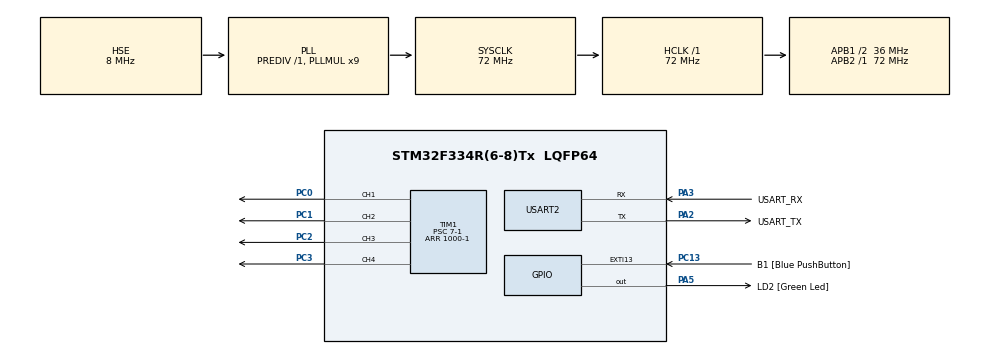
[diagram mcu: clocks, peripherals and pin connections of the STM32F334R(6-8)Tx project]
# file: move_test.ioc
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Mcu.Family=STM32F3
Mcu.Name=STM32F334R(6-8)Tx
Mcu.Package=LQFP64
NVIC.PriorityGroup=NVIC_PRIORITYGROUP_0
PA13.GPIO_Label=TMS
PA13.Mode=Serial_Wire
PA13.Signal=SYS_JTMS-SWDIO
PA14.GPIO_Label=TCK
PA14.Mode=Serial_Wire
PA14.Signal=SYS_JTCK-SWCLK
PA2.GPIO_Label=USART_TX
PA2.Mode=Asynchronous
PA2.Signal=USART2_TX
PA3.GPIO_Label=USART_RX
PA3.Mode=Asynchronous
PA3.Signal=USART2_RX
PA5.GPIO_Label=LD2 [Green Led]
PA5.Signal=GPIO_Output
PB3.GPIO_Label=SWO
PB3.Signal=SYS_JTDO-TRACESWO
PC0.Signal=S_TIM1_CH1
PC1.Signal=S_TIM1_CH2
PC13.GPIO_Label=B1 [Blue PushButton]
PC13.GPIO_ModeDefaultEXTI=GPIO_MODE_IT_FALLING
PC13.Signal=GPXTI13
PC14\ /\ OSC32_IN.Mode=LSE-External-Oscillator
PC14\ /\ OSC32_IN.Signal=RCC_OSC32_IN
PC15\ /\ OSC32_OUT.GPIO_Label=RCC_OSC32_OUT
PC15\ /\ OSC32_OUT.Mode=LSE-External-Oscillator
PC15\ /\ OSC32_OUT.Signal=RCC_OSC32_OUT
PC2.Signal=S_TIM1_CH3
PC3.Signal=S_TIM1_CH4
PF0\ /\ OSC_IN.Mode=HSE-External-Clock-Source
PF0\ /\ OSC_IN.Signal=RCC_OSC_IN
PF1\ /\ OSC_OUT.Signal=RCC_OSC_OUT
ProjectManager.HeapSize=0x200
ProjectManager.StackSize=0x400
ProjectManager.TargetToolchain=STM32CubeIDE
RCC.AHBFreq_Value=72000000
RCC.APB1CLKDivider=RCC_HCLK_DIV2
RCC.APB1Freq_Value=36000000
RCC.APB1TimFreq_Value=72000000
RCC.APB2Freq_Value=72000000
RCC.APB2TimFreq_Value=72000000
RCC.CortexFreq_Value=72000000
RCC.FLatency-AdvancedSettings=FLASH_LATENCY_2
RCC.HCLKFreq_Value=72000000
RCC.HSE_VALUE=8000000
RCC.HSI_VALUE=8000000
RCC.PLLMUL=RCC_PLL_MUL9
RCC.PLLSourceVirtual=RCC_PLLSOURCE_HSE
RCC.SYSCLKFreq_VALUE=72000000
RCC.SYSCLKSourceVirtual=RCC_SYSCLKSOURCE_PLLCLK
SH.S_TIM1_CH1.0=TIM1_CH1,PWM Generation1 CH1
SH.S_TIM1_CH2.0=TIM1_CH2,PWM Generation2 CH2
SH.S_TIM1_CH3.0=TIM1_CH3,PWM Generation3 CH3
SH.S_TIM1_CH4.0=TIM1_CH4,PWM Generation4 CH4
TIM1.Channel-PWM\ Generation1\ CH1=TIM_CHANNEL_1
TIM1.Channel-PWM\ Generation2\ CH2=TIM_CHANNEL_2
TIM1.Channel-PWM\ Generation3\ CH3=TIM_CHANNEL_3
TIM1.Channel-PWM\ Generation4\ CH4=TIM_CHANNEL_4
TIM1.Period=1000-1
TIM1.Prescaler=7-1
USART2.VirtualMode-Asynchronous=VM_ASYNC
board=NUCLEO-F334R8

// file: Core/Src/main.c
/* USER CODE BEGIN Header */
/**
  ******************************************************************************
  * @file           : main.c
  * @brief          : Main program body
  ******************************************************************************
  * @attention
  *
  * Copyright (c) 2022 STMicroelectronics.
  * All rights reserved.
  *
  * This software is licensed under terms that can be found in the LICENSE file
  * in the root directory of this software component.
  * If no LICENSE file comes with this software, it is provided AS-IS.
  *
  ******************************************************************************
  */
/* USER CODE END Header */
#include "main.h"

/* USER CODE BEGIN Includes */
#include "motor.h"
#include <stdio.h>
/* USER CODE END Includes */

/* USER CODE BEGIN PD */
#define LEFT_MOTOR_CHANNEL_A TIM_CHANNEL_4
#define LEFT_MOTOR_CHANNEL_B TIM_CHANNEL_3
#define RIGHT_MOTOR_CHANNEL_A TIM_CHANNEL_2
#define RIGHT_MOTOR_CHANNEL_B TIM_CHANNEL_1
/* USER CODE END PD */

TIM_HandleTypeDef htim1;

UART_HandleTypeDef huart2;

/* USER CODE BEGIN PV */
Motor left_motor, right_motor;
/* USER CODE END PV */

void SystemClock_Config(void);
static void MX_GPIO_Init(void);
static void MX_USART2_UART_Init(void);
static void MX_TIM1_Init(void);

/* USER CODE BEGIN 0 */
int __io_putchar(int ch)
{
  if (ch == '\n') {
    __io_putchar('\r');
  }

  HAL_UART_Transmit(&huart2, (uint8_t*)&ch, 1, HAL_MAX_DELAY);

  return 1;
}

/* USER CODE END 0 */

int main(void)
{

  /* MCU Configuration--------------------------------------------------------*/

  /* Reset of all peripherals, Initializes the Flash interface and the Systick. */
  HAL_Init();

  /* Configure the system clock */
  SystemClock_Config();

  /* Initialize all configured peripherals */
  MX_GPIO_Init();
  MX_USART2_UART_Init();
  MX_TIM1_Init();
  /* USER CODE BEGIN 2 */
  HAL_StatusTypeDef status = motor_init(&left_motor, &htim1, LEFT_MOTOR_CHANNEL_A, LEFT_MOTOR_CHANNEL_B);
  printf("Status: %d\n", status);

  status = motor_init(&right_motor, &htim1, RIGHT_MOTOR_CHANNEL_A, RIGHT_MOTOR_CHANNEL_B);
  printf("Status: %d\n", status);

  int8_t value = 0;
  int8_t dir = 1;
  /* USER CODE END 2 */

  /* Infinite loop */
  /* USER CODE BEGIN WHILE */
  while (1)
  {
	  if (value >= 100 || value <= -100) dir = -dir;
	  if (value == 0){
		  motor_brake(&left_motor);
		  motor_brake(&right_motor);
	  } else {
		  printf("%ld\n", motor_run(&left_motor, 10));
		  motor_run(&right_motor, 10);
	  };
	  value += 10*dir;

	  HAL_Delay(200);

    /* USER CODE END WHILE */

  }
}

void SystemClock_Config(void)
{
  RCC_OscInitTypeDef RCC_OscInitStruct = {0};
  RCC_ClkInitTypeDef RCC_ClkInitStruct = {0};
  RCC_PeriphCLKInitTypeDef PeriphClkInit = {0};

  /** Initializes the RCC Oscillators according to the specified parameters
  * in the RCC_OscInitTypeDef structure.
  */
  RCC_OscInitStruct.OscillatorType = RCC_OSCILLATORTYPE_HSE;
  RCC_OscInitStruct.HSEState = RCC_HSE_BYPASS;
  RCC_OscInitStruct.HSEPredivValue = RCC_HSE_PREDIV_DIV1;
  RCC_OscInitStruct.HSIState = RCC_HSI_ON;
  RCC_OscInitStruct.PLL.PLLState = RCC_PLL_ON;
  RCC_OscInitStruct.PLL.PLLSource = RCC_PLLSOURCE_HSE;
  RCC_OscInitStruct.PLL.PLLMUL = RCC_PLL_MUL9;
  if (HAL_RCC_OscConfig(&RCC_OscInitStruct) != HAL_OK)
  {
    Error_Handler();
  }
  /** Initializes the CPU, AHB and APB buses clocks
  */
  RCC_ClkInitStruct.ClockType = RCC_CLOCKTYPE_HCLK|RCC_CLOCKTYPE_SYSCLK
                              |RCC_CLOCKTYPE_PCLK1|RCC_CLOCKTYPE_PCLK2;
  RCC_ClkInitStruct.SYSCLKSource = RCC_SYSCLKSOURCE_PLLCLK;
  RCC_ClkInitStruct.AHBCLKDivider = RCC_SYSCLK_DIV1;
  RCC_ClkInitStruct.APB1CLKDivider = RCC_HCLK_DIV2;
  RCC_ClkInitStruct.APB2CLKDivider = RCC_HCLK_DIV1;

  if (HAL_RCC_ClockConfig(&RCC_ClkInitStruct, FLASH_LATENCY_2) != HAL_OK)
  {
    Error_Handler();
  }
  PeriphClkInit.PeriphClockSelection = RCC_PERIPHCLK_TIM1;
  PeriphClkInit.Tim1ClockSelection = RCC_TIM1CLK_HCLK;
  if (HAL_RCCEx_PeriphCLKConfig(&PeriphClkInit) != HAL_OK)
  {
    Error_Handler();
  }
}

static void MX_TIM1_Init(void)
{

  TIM_MasterConfigTypeDef sMasterConfig = {0};
  TIM_OC_InitTypeDef sConfigOC = {0};
  TIM_BreakDeadTimeConfigTypeDef sBreakDeadTimeConfig = {0};

  htim1.Instance = TIM1;
  htim1.Init.Prescaler = 7-1;
  htim1.Init.CounterMode = TIM_COUNTERMODE_UP;
  htim1.Init.Period = 1000-1;
  htim1.Init.ClockDivision = TIM_CLOCKDIVISION_DIV1;
  htim1.Init.RepetitionCounter = 0;
  htim1.Init.AutoReloadPreload = TIM_AUTORELOAD_PRELOAD_DISABLE;
  if (HAL_TIM_PWM_Init(&htim1) != HAL_OK)
  {
    Error_Handler();
  }
  sMasterConfig.MasterOutputTrigger = TIM_TRGO_RESET;
  sMasterConfig.MasterOutputTrigger2 = TIM_TRGO2_RESET;
  sMasterConfig.MasterSlaveMode = TIM_MASTERSLAVEMODE_DISABLE;
  if (HAL_TIMEx_MasterConfigSynchronization(&htim1, &sMasterConfig) != HAL_OK)
  {
    Error_Handler();
  }
  sConfigOC.OCMode = TIM_OCMODE_PWM1;
  sConfigOC.Pulse = 0;
  sConfigOC.OCPolarity = TIM_OCPOLARITY_HIGH;
  sConfigOC.OCNPolarity = TIM_OCNPOLARITY_HIGH;
  sConfigOC.OCFastMode = TIM_OCFAST_DISABLE;
  sConfigOC.OCIdleState = TIM_OCIDLESTATE_RESET;
  sConfigOC.OCNIdleState = TIM_OCNIDLESTATE_RESET;
  if (HAL_TIM_PWM_ConfigChannel(&htim1, &sConfigOC, TIM_CHANNEL_1) != HAL_OK)
  {
    Error_Handler();
  }
  if (HAL_TIM_PWM_ConfigChannel(&htim1, &sConfigOC, TIM_CHANNEL_2) != HAL_OK)
  {
    Error_Handler();
  }
  if (HAL_TIM_PWM_ConfigChannel(&htim1, &sConfigOC, TIM_CHANNEL_3) != HAL_OK)
  {
    Error_Handler();
  }
  if (HAL_TIM_PWM_ConfigChannel(&htim1, &sConfigOC, TIM_CHANNEL_4) != HAL_OK)
  {
    Error_Handler();
  }
  sBreakDeadTimeConfig.OffStateRunMode = TIM_OSSR_DISABLE;
  sBreakDeadTimeConfig.OffStateIDLEMode = TIM_OSSI_DISABLE;
  sBreakDeadTimeConfig.LockLevel = TIM_LOCKLEVEL_OFF;
  sBreakDeadTimeConfig.DeadTime = 0;
  sBreakDeadTimeConfig.BreakState = TIM_BREAK_DISABLE;
  sBreakDeadTimeConfig.BreakPolarity = TIM_BREAKPOLARITY_HIGH;
  sBreakDeadTimeConfig.BreakFilter = 0;
  sBreakDeadTimeConfig.Break2State = TIM_BREAK2_DISABLE;
  sBreakDeadTimeConfig.Break2Polarity = TIM_BREAK2POLARITY_HIGH;
  sBreakDeadTimeConfig.Break2Filter = 0;
  sBreakDeadTimeConfig.AutomaticOutput = TIM_AUTOMATICOUTPUT_DISABLE;
  if (HAL_TIMEx_ConfigBreakDeadTime(&htim1, &sBreakDeadTimeConfig) != HAL_OK)
  {
    Error_Handler();
  }
  HAL_TIM_MspPostInit(&htim1);

}

static void MX_USART2_UART_Init(void)
{

  huart2.Instance = USART2;
  huart2.Init.BaudRate = 38400;
  huart2.Init.WordLength = UART_WORDLENGTH_8B;
  huart2.Init.StopBits = UART_STOPBITS_1;
  huart2.Init.Parity = UART_PARITY_NONE;
  huart2.Init.Mode = UART_MODE_TX_RX;
  huart2.Init.HwFlowCtl = UART_HWCONTROL_NONE;
  huart2.Init.OverSampling = UART_OVERSAMPLING_16;
  huart2.Init.OneBitSampling = UART_ONE_BIT_SAMPLE_DISABLE;
  huart2.AdvancedInit.AdvFeatureInit = UART_ADVFEATURE_NO_INIT;
  if (HAL_UART_Init(&huart2) != HAL_OK)
  {
    Error_Handler();
  }

}

static void MX_GPIO_Init(void)
{
  GPIO_InitTypeDef GPIO_InitStruct = {0};

  /* GPIO Ports Clock Enable */
  __HAL_RCC_GPIOC_CLK_ENABLE();
  __HAL_RCC_GPIOF_CLK_ENABLE();
  __HAL_RCC_GPIOA_CLK_ENABLE();
  __HAL_RCC_GPIOB_CLK_ENABLE();

  /*Configure GPIO pin Output Level */
  HAL_GPIO_WritePin(LD2_GPIO_Port, LD2_Pin, GPIO_PIN_RESET);

  /*Configure GPIO pin : B1_Pin */
  GPIO_InitStruct.Pin = B1_Pin;
  GPIO_InitStruct.Mode = GPIO_MODE_IT_FALLING;
  GPIO_InitStruct.Pull = GPIO_NOPULL;
  HAL_GPIO_Init(B1_GPIO_Port, &GPIO_InitStruct);

  /*Configure GPIO pin : LD2_Pin */
  GPIO_InitStruct.Pin = LD2_Pin;
  GPIO_InitStruct.Mode = GPIO_MODE_OUTPUT_PP;
  GPIO_InitStruct.Pull = GPIO_NOPULL;
  GPIO_InitStruct.Speed = GPIO_SPEED_FREQ_LOW;
  HAL_GPIO_Init(LD2_GPIO_Port, &GPIO_InitStruct);

}

void Error_Handler(void)
{
  __disable_irq();
  while (1)
  {
  }
}
